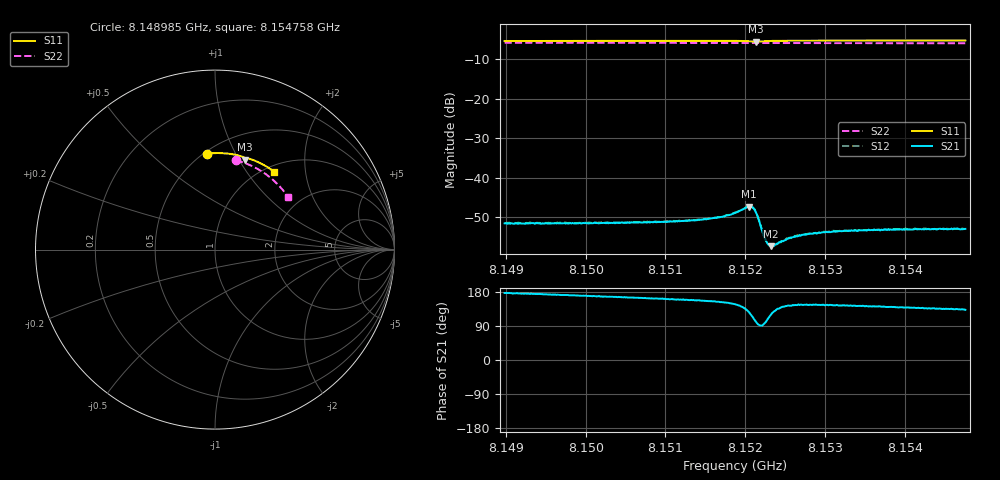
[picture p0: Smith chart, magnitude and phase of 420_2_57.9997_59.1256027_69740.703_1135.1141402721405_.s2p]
#  HZ  S  RI  R  50.00
! Rohde & Schwarz Vector Network Analyzer
! Rohde-Schwarz,ZNB20-2Port,1311601062101988,3.16
! Created: UTC 3/21/2024, 1:09:06 AM
! freq[Hz]  re:S11  im:S11  re:S21  im:S21  re:S12  im:S12  re:S22  im:S22
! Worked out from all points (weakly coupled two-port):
!   401 points, 8.148985 GHz to 8.154758 GHz, reference 50 ohm
!   highest |S21| = -47.35 dB at 8.152044 GHz (marker M1); lowest = -57.4 dB at 8.152319 GHz (marker M2)
!   lowest |S11| = -5.5 dB at 8.152131 GHz (marker M3), VSWR 3.24, Z = 38 + j52.9 ohm
!   |S11| at or under -10 dB: nowhere
!   |S22| runs from -6.0 to -5.8 dB; largest |S21 - S12| = 0.00012
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8.1489849e9  -0.0452 0.5348  -0.00263 0.000143  -0.00266 0.000176  0.116 0.4977
8.1499518e9  0.0222 0.5379  -0.00258 0.000486  -0.00262 0.000521  0.1755 0.4784
8.1509188e9  0.0894 0.5326  -0.0026 0.000848  -0.00263 0.000891  0.2317 0.4524
8.1512507e9  0.1125 0.5286  -0.00264 0.00102  -0.00265 0.00108  0.2503 0.4418
8.1515682e9  0.1348 0.5237  -0.00275 0.00127  -0.00276 0.0013  0.2674 0.4311
8.1517125e9  0.1452 0.5206  -0.00283 0.00147  -0.00283 0.00152  0.275 0.4259
8.1518713e9  0.157 0.5161  -0.003 0.00193  -0.00299 0.00203  0.2834 0.4201
8.1520445e9  0.1681 0.5057  -0.00256 0.00344  -0.00255 0.0035  0.2921 0.4135
8.1520877e9  0.1676 0.5023  -0.00177 0.00383  -0.00173 0.00387  0.2942 0.4117
8.152131e9  0.1652 0.5014  -0.000734 0.00357  -0.000687 0.00363  0.2962 0.4102
8.1521599e9  0.1644 0.5029  -0.000208 0.00309  -0.000185 0.00318  0.2975 0.4091
8.1522176e9  0.1666 0.5066  -6.08e-05 0.00201  -4.62e-05 0.00204  0.3006 0.4073
8.1522465e9  0.1688 0.508  -0.000236 0.00168  -0.000185 0.00167  0.3019 0.4061
8.1522754e9  0.1712 0.5087  -0.000418 0.00141  -0.000368 0.00143  0.3035 0.405
8.1523187e9  0.1751 0.5091  -0.000647 0.00119  -0.000629 0.00121  0.3058 0.4034
8.1523475e9  0.1777 0.509  -0.000805 0.00112  -0.000765 0.00112  0.3071 0.4021
8.1525496e9  0.1934 0.5057  -0.00137 0.00101  -0.00137 0.00106  0.317 0.394
8.1526217e9  0.1987 0.504  -0.00146 0.00102  -0.00148 0.00108  0.3205 0.391
8.1528382e9  0.2134 0.4989  -0.0016 0.00111  -0.00161 0.00112  0.3309 0.382
8.153098e9  0.2305 0.4918  -0.00168 0.0012  -0.00172 0.00124  0.3429 0.3707
8.1538052e9  0.2748 0.4699  -0.00168 0.00139  -0.00167 0.00145  0.3734 0.3381
8.1547577e9  0.3301 0.4344  -0.00151 0.00165  -0.00151 0.00165  0.4094 0.2907
